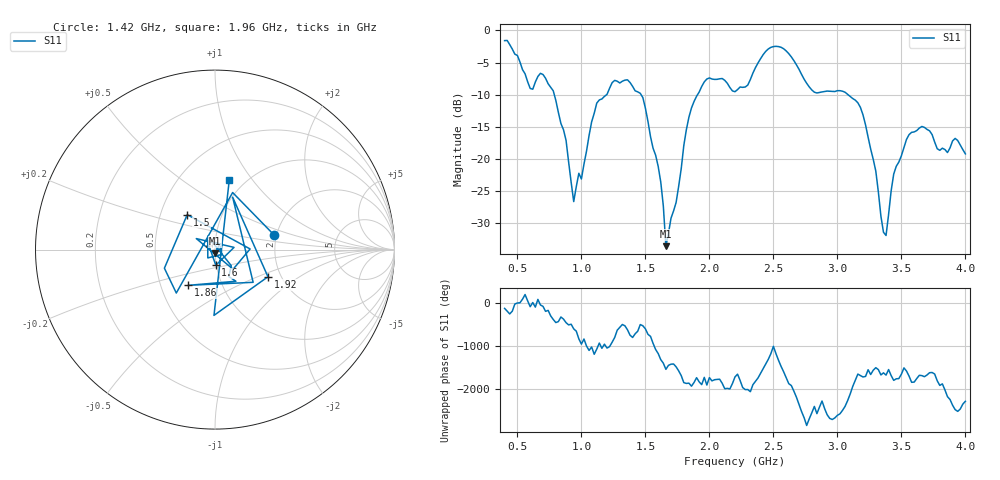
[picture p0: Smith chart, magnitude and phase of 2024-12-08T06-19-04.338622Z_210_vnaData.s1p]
!Created with skrf (http://scikit-rf.org).
# Hz S RI R 50.0
!freq ReS11 ImS11
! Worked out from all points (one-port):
!   181 points, 400 MHz to 4 GHz, reference 50 ohm
!   lowest |S11| = -33.6 dB at 1.66 GHz (marker M1), VSWR 1.04, Z = 49.8 - j2.08 ohm
!   |S11| at or under -10 dB: 788.2 MHz to 1.197 GHz (408.9 MHz wide, 41.2 % of centre); 1.466 GHz to 1.907 GHz (440.8 MHz wide, 26.1 % of centre); 3.083 GHz to end of sweep
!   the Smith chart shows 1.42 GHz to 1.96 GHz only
!   S11 on the Smith chart (normalised r, x): 1.42 GHz: 1.94, +0.36; 1.5 GHz: 0.68, +0.28; 1.6 GHz: 0.99, -0.17; 1.86 GHz: 0.69, -0.29; 1.92 GHz: 1.71, -0.58; 1.96 GHz: 0.84, +0.78
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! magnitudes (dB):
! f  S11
! 400 MHz  -1.6
! 600 MHz  -9.0
! 720 MHz  -7.4
! 860 MHz  -15.5
! 940 MHz  -26.6
! 1.12 GHz  -11.3
! 1.3 GHz  -8.2
! 1.42 GHz  -9.4
! 1.5 GHz  -12.1
! 1.6 GHz  -21.2
! 1.64 GHz  -27.3
! 1.66 GHz  -33.6
! 1.76 GHz  -24.2
! 1.86 GHz  -12.1
! 1.92 GHz  -9.6
! 1.96 GHz  -8.0
! 2.2 GHz  -9.5
! 2.48 GHz  -2.6
! 2.66 GHz  -4.7
! 2.82 GHz  -9.6
! 3.1 GHz  -10.3
! 3.2 GHz  -13.1
! 3.38 GHz  -31.9
! 3.44 GHz  -22.4
! 3.56 GHz  -16.2
! 3.66 GHz  -15.0
! 3.78 GHz  -18.4
! 4 GHz  -19.2
